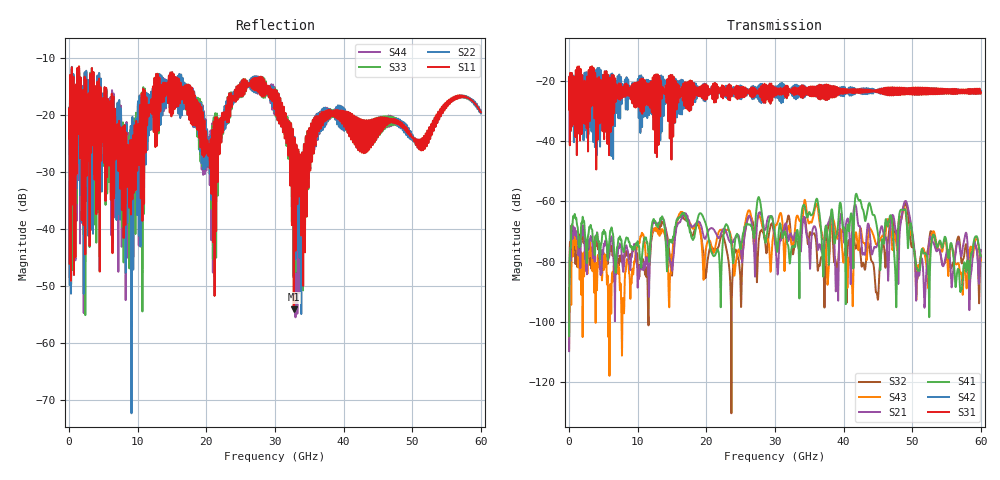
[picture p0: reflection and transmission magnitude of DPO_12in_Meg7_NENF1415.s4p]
! Tyco Electronics Strada Whisper System
! NEXT_F1415_G1112
!! SYSTEM DESCRIPTION: Daughtercard-Footprint-Connector-Footprint-Daughtercard
!! PCB DESCRIPTION: DC: 140mil, Megtron7N, upper layer route, 15mil stub, 6-6-6mil 12" traces
!! CONNECTOR DESCRIPTION: Next-Gen STRADA Whisper Direct-Plug Orthogonal Connector
!! MODEL DESCRIPTION: Tyco Electronics System 4-port S-parameter
!! MODEL STATUS: Developmental
!! MODEL GEOMETRY: Channel Model
!! MODEL FREQUENCY RANGE: DC to 60 GHz in 10 MHz frequency steps
!! MODEL EDGE RATE LIMITATION: 8.3 ps (Using conservative 0.5/Fmax rule of thumb)
!! TIME-DOMAIN TRANSFORM CAUTIONS:
!! 1.) Do not simulate transient edge rates faster than the number listed above.  Edge rates faster than this number
!!  contain significant spectral content at frequencies above the model's highest frequency.
!! 2.) Even when simulating edge rates that are slower than the number listed above, be aware that the best time
!!  resolution possible with a direct iFFT is (1 / 2Fmax).  As a result, time resolution is typically not adequate
!!  for most time-domain simulations unless tricks such as windowing are used to minimize leakage and aliasing.
!! 3.) Because the model has a uniform frequency step, a direct iFFT will result in an impulse that that has a time
!!  length given by either (1 / Fstep) or (1 / 2Fstep), depending on the transform being used.  Care has been taken
!!  in selecting the frequency step to ensure a settled impulse response for the model.  Therefore, convolution with
!!  the model's impulse response should present no issues.  However, if directly concatenating s-parameter models
!!  in the frequency domain a user must either interpolate necessary interim frequencies or complete impulse response
!!  zero-padding.  Impulse response zero-padding is more difficult, but more accurate.
!! PORT DEFINITIONS:
!! Port  1  ----->  RX Side	F14  G11  RX Side  <-----  Port  3
!! Port  2  ----->  RX Side	F15  G12  RX Side  <-----  Port  4
!!!!!!!!!!!!!!!!!!!!!!!!!!!!!!!!!!!!!!!!!!!!!!!!!!!!!!!!!!!!!!!!!!!!!!!!!!!!!!!!!!!!!!!!!!!!!!!!!!!!!!!!!!!!!!!!!!!!!!!!! Touchstone data
! Created: 10-Dec-2018 by IdEM R2012 (8.0.5)
# Hz S MA R 50
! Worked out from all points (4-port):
!   6000 points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, 10 MHz to 60 GHz, reference 50 ohm
!   strongest paths, dB at 10 MHz, 15.01 GHz, 30.01 GHz, 45.01 GHz, 60 GHz:
!     S31: -29.5, -18.6, -22.4, -23.1, -23.9
!     S42: -29.5, -27.3, -21.8, -23.0, -23.3
!     S41: -104.7, -73.8, -70.9, -70.9, -78.1
!     S21: -109.7, -83.0, -73.3, -73.5, -76.1
!     S43: -109.3, -78.3, -68.7, -73.9, -79.6
!     S32: -99.9, -84.5, -73.8, -92.6, -77.8
!   lowest |S11| = -54.1 dB at 32.73 GHz (marker M1), VSWR 1.00, Z = 50.2 + j0.105 ohm
!   |S11| at or under -10 dB: start of sweep to end of sweep
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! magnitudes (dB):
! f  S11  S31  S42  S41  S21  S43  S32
! 10 MHz  -24.2  -29.5  -29.5  -104.7  -109.7  -109.3  -99.9
! 22.03 GHz  -20.9  -22.5  -22.9  -87.0  -71.4  -69.5  -72.6
! 27.64 GHz  -14.9  -24.3  -21.5  -58.6  -63.9  -64.5  -73.0
! 32.73 GHz  -54.1  -24.0  -22.6  -75.1  -72.6  -73.8  -76.4
! 41.96 GHz  -22.1  -23.7  -23.4  -58.1  -64.6  -72.8  -74.4
! 49.01 GHz  -22.1  -24.3  -23.2  -62.9  -59.9  -63.3  -60.9
! 60 GHz  -19.6  -23.9  -23.3  -78.1  -76.1  -79.6  -77.8
